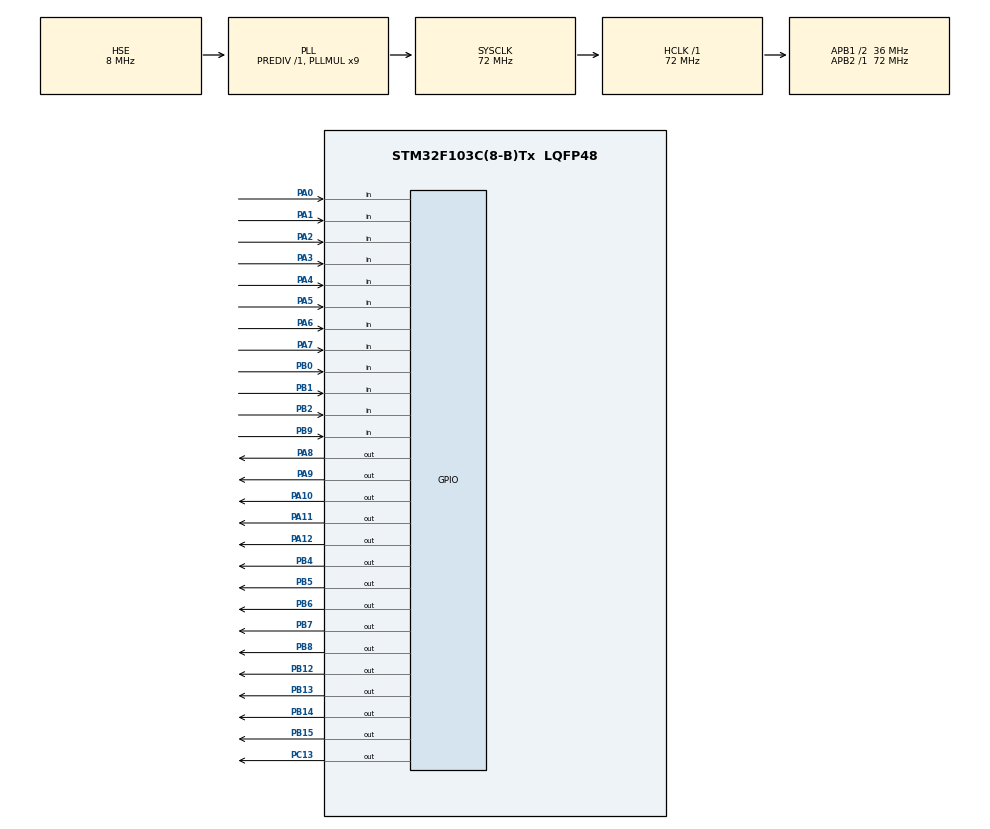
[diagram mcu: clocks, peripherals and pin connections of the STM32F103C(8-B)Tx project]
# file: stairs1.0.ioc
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Mcu.Family=STM32F1
Mcu.Name=STM32F103C(8-B)Tx
Mcu.Package=LQFP48
NVIC.PriorityGroup=NVIC_PRIORITYGROUP_4
NVIC.TIM2_IRQn=true\:0\:0\:false\:false\:true
PA0-WKUP.GPIO_PuPd=GPIO_PULLDOWN
PA0-WKUP.Signal=GPIO_Input
PA1.GPIO_PuPd=GPIO_PULLDOWN
PA1.Signal=GPIO_Input
PA10.Signal=GPIO_Output
PA11.Signal=GPIO_Output
PA12.Signal=GPIO_Output
PA13.Mode=JTAG_4_pins
PA13.Signal=SYS_JTMS-SWDIO
PA14.Mode=JTAG_4_pins
PA14.Signal=SYS_JTCK-SWCLK
PA15.Mode=JTAG_4_pins
PA15.Signal=SYS_JTDI
PA2.GPIO_PuPd=GPIO_PULLDOWN
PA2.Signal=GPIO_Input
PA3.GPIO_PuPd=GPIO_PULLDOWN
PA3.Signal=GPIO_Input
PA4.GPIO_PuPd=GPIO_PULLDOWN
PA4.Signal=GPIO_Input
PA5.GPIO_PuPd=GPIO_PULLDOWN
PA5.Signal=GPIO_Input
PA6.GPIO_PuPd=GPIO_PULLDOWN
PA6.Signal=GPIO_Input
PA7.GPIO_PuPd=GPIO_PULLDOWN
PA7.Signal=GPIO_Input
PA8.Signal=GPIO_Output
PA9.Signal=GPIO_Output
PB0.GPIO_PuPd=GPIO_PULLDOWN
PB0.Signal=GPIO_Input
PB1.GPIO_PuPd=GPIO_PULLDOWN
PB1.Signal=GPIO_Input
PB12.Signal=GPIO_Output
PB13.Signal=GPIO_Output
PB14.Signal=GPIO_Output
PB15.Signal=GPIO_Output
PB2.GPIO_PuPd=GPIO_PULLDOWN
PB2.Signal=GPIO_Input
PB3.Mode=JTAG_4_pins
PB3.Signal=SYS_JTDO-TRACESWO
PB4.Signal=GPIO_Output
PB5.Signal=GPIO_Output
PB6.Signal=GPIO_Output
PB7.Signal=GPIO_Output
PB8.Signal=GPIO_Output
PB9.GPIO_PuPd=GPIO_PULLDOWN
PB9.Signal=GPIO_Input
PC13-TAMPER-RTC.Signal=GPIO_Output
PD0-OSC_IN.Mode=HSE-External-Oscillator
PD0-OSC_IN.Signal=RCC_OSC_IN
PD1-OSC_OUT.Mode=HSE-External-Oscillator
PD1-OSC_OUT.Signal=RCC_OSC_OUT
ProjectManager.HeapSize=0x200
ProjectManager.StackSize=0x400
ProjectManager.TargetToolchain=MDK-ARM V5
RCC.AHBFreq_Value=72000000
RCC.APB1CLKDivider=RCC_HCLK_DIV2
RCC.APB1Freq_Value=36000000
RCC.APB1TimFreq_Value=72000000
RCC.APB2Freq_Value=72000000
RCC.APB2TimFreq_Value=72000000
RCC.HCLKFreq_Value=72000000
RCC.HSIState=RCC_HSI_ON
RCC.PLLMUL=RCC_PLL_MUL9
RCC.PLLSourceVirtual=RCC_PLLSOURCE_HSE
RCC.SYSCLKFreq_VALUE=72000000
RCC.SYSCLKSource=RCC_SYSCLKSOURCE_PLLCLK
RCC.USBFreq_Value=72000000
TIM2.Period=200-1
TIM2.Prescaler=720-1
VP_TIM2_VS_ClockSourceINT.Mode=Internal
board=stairs1.0

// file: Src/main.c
/**
  ******************************************************************************
  * File Name          : main.c
  * Description        : Main program body
  ******************************************************************************
  *
  * COPYRIGHT(c) 2016 STMicroelectronics
  *
  * Redistribution and use in source and binary forms, with or without modification,
  * are permitted provided that the following conditions are met:
  *   1. Redistributions of source code must retain the above copyright notice,
  *      this list of conditions and the following disclaimer.
  *   2. Redistributions in binary form must reproduce the above copyright notice,
  *      this list of conditions and the following disclaimer in the documentation
  *      and/or other materials provided with the distribution.
  *   3. Neither the name of STMicroelectronics nor the names of its contributors
  *      may be used to endorse or promote products derived from this software
  *      without specific prior written permission.
  *
  * THIS SOFTWARE IS PROVIDED BY THE COPYRIGHT HOLDERS AND CONTRIBUTORS "AS IS"
  * AND ANY EXPRESS OR IMPLIED WARRANTIES, INCLUDING, BUT NOT LIMITED TO, THE
  * IMPLIED WARRANTIES OF MERCHANTABILITY AND FITNESS FOR A PARTICULAR PURPOSE ARE
  * DISCLAIMED. IN NO EVENT SHALL THE COPYRIGHT HOLDER OR CONTRIBUTORS BE LIABLE
  * FOR ANY DIRECT, INDIRECT, INCIDENTAL, SPECIAL, EXEMPLARY, OR CONSEQUENTIAL
  * DAMAGES (INCLUDING, BUT NOT LIMITED TO, PROCUREMENT OF SUBSTITUTE GOODS OR
  * SERVICES; LOSS OF USE, DATA, OR PROFITS; OR BUSINESS INTERRUPTION) HOWEVER
  * CAUSED AND ON ANY THEORY OF LIABILITY, WHETHER IN CONTRACT, STRICT LIABILITY,
  * OR TORT (INCLUDING NEGLIGENCE OR OTHERWISE) ARISING IN ANY WAY OUT OF THE USE
  * OF THIS SOFTWARE, EVEN IF ADVISED OF THE POSSIBILITY OF SUCH DAMAGE.
  *
  ******************************************************************************
  */
#include "stm32f1xx_hal.h"

/* USER CODE BEGIN Includes */
#include "key.h"
#include "tf_mp3.h"
/* USER CODE END Includes */

TIM_HandleTypeDef htim2;

/* USER CODE BEGIN PV */
/* Private variables ---------------------------------------------------------*/
int key_last,key_get,key_now,key_push;
extern SONG_STRUCT song1;
extern int touch_times;
/* USER CODE END PV */

void SystemClock_Config(void);
void Error_Handler(void);
static void MX_GPIO_Init(void);
static void MX_TIM2_Init(void);

/* USER CODE BEGIN PFP */
/* Private function prototypes -----------------------------------------------*/
void init_all(void);
/* USER CODE END PFP */

int main(void)
{

  /* MCU Configuration----------------------------------------------------------*/

  /* Reset of all peripherals, Initializes the Flash interface and the Systick. */
  HAL_Init();

  /* Configure the system clock */
  SystemClock_Config();

  /* Initialize all configured peripherals */
  MX_GPIO_Init();
  MX_TIM2_Init();

  /* USER CODE BEGIN 2 */
	init_all();
  /* USER CODE END 2 */

  /* Infinite loop */
  while (1)
  {

  }

}

/** System Clock Configuration
*/
void SystemClock_Config(void)
{

  RCC_OscInitTypeDef RCC_OscInitStruct;
  RCC_ClkInitTypeDef RCC_ClkInitStruct;

  RCC_OscInitStruct.OscillatorType = RCC_OSCILLATORTYPE_HSE;
  RCC_OscInitStruct.HSEState = RCC_HSE_ON;
  RCC_OscInitStruct.HSEPredivValue = RCC_HSE_PREDIV_DIV1;
  RCC_OscInitStruct.PLL.PLLState = RCC_PLL_ON;
  RCC_OscInitStruct.PLL.PLLSource = RCC_PLLSOURCE_HSE;
  RCC_OscInitStruct.PLL.PLLMUL = RCC_PLL_MUL9;
  if (HAL_RCC_OscConfig(&RCC_OscInitStruct) != HAL_OK)
  {
    Error_Handler();
  }

  RCC_ClkInitStruct.ClockType = RCC_CLOCKTYPE_HCLK|RCC_CLOCKTYPE_SYSCLK
                              |RCC_CLOCKTYPE_PCLK1|RCC_CLOCKTYPE_PCLK2;
  RCC_ClkInitStruct.SYSCLKSource = RCC_SYSCLKSOURCE_PLLCLK;
  RCC_ClkInitStruct.AHBCLKDivider = RCC_SYSCLK_DIV1;
  RCC_ClkInitStruct.APB1CLKDivider = RCC_HCLK_DIV2;
  RCC_ClkInitStruct.APB2CLKDivider = RCC_HCLK_DIV1;
  if (HAL_RCC_ClockConfig(&RCC_ClkInitStruct, FLASH_LATENCY_2) != HAL_OK)
  {
    Error_Handler();
  }

  HAL_SYSTICK_Config(HAL_RCC_GetHCLKFreq()/1000);

  HAL_SYSTICK_CLKSourceConfig(SYSTICK_CLKSOURCE_HCLK);

  /* SysTick_IRQn interrupt configuration */
  HAL_NVIC_SetPriority(SysTick_IRQn, 0, 0);
}

/* TIM2 init function */
static void MX_TIM2_Init(void)
{

  TIM_ClockConfigTypeDef sClockSourceConfig;
  TIM_MasterConfigTypeDef sMasterConfig;

  htim2.Instance = TIM2;
  htim2.Init.Prescaler = 720-1;
  htim2.Init.CounterMode = TIM_COUNTERMODE_UP;
  htim2.Init.Period = 100-1;
  htim2.Init.ClockDivision = TIM_CLOCKDIVISION_DIV1;
  if (HAL_TIM_Base_Init(&htim2) != HAL_OK)
  {
    Error_Handler();
  }

  sClockSourceConfig.ClockSource = TIM_CLOCKSOURCE_INTERNAL;
  if (HAL_TIM_ConfigClockSource(&htim2, &sClockSourceConfig) != HAL_OK)
  {
    Error_Handler();
  }

  sMasterConfig.MasterOutputTrigger = TIM_TRGO_RESET;
  sMasterConfig.MasterSlaveMode = TIM_MASTERSLAVEMODE_DISABLE;
  if (HAL_TIMEx_MasterConfigSynchronization(&htim2, &sMasterConfig) != HAL_OK)
  {
    Error_Handler();
  }

}

/** Configure pins as
        * Analog
        * Input
        * Output
        * EVENT_OUT
        * EXTI
*/
static void MX_GPIO_Init(void)
{

  GPIO_InitTypeDef GPIO_InitStruct;

  /* GPIO Ports Clock Enable */
  __HAL_RCC_GPIOC_CLK_ENABLE();
  __HAL_RCC_GPIOD_CLK_ENABLE();
  __HAL_RCC_GPIOA_CLK_ENABLE();
  __HAL_RCC_GPIOB_CLK_ENABLE();

  /*Configure GPIO pin Output Level */
  HAL_GPIO_WritePin(GPIOC, GPIO_PIN_13, GPIO_PIN_RESET);

  /*Configure GPIO pin Output Level */
  HAL_GPIO_WritePin(GPIOB, GPIO_PIN_12|GPIO_PIN_13|GPIO_PIN_14|GPIO_PIN_15
                          |GPIO_PIN_4|GPIO_PIN_5|GPIO_PIN_6|GPIO_PIN_7
                          |GPIO_PIN_8, GPIO_PIN_RESET);

  /*Configure GPIO pin Output Level */
  HAL_GPIO_WritePin(GPIOA, GPIO_PIN_8|GPIO_PIN_9|GPIO_PIN_10|GPIO_PIN_11
                          |GPIO_PIN_12, GPIO_PIN_RESET);

  /*Configure GPIO pin : PC13 */
  GPIO_InitStruct.Pin = GPIO_PIN_13;
  GPIO_InitStruct.Mode = GPIO_MODE_OUTPUT_PP;
  GPIO_InitStruct.Speed = GPIO_SPEED_FREQ_LOW;
  HAL_GPIO_Init(GPIOC, &GPIO_InitStruct);

  /*Configure GPIO pins : PA0 PA1 PA2 PA3
                           PA4 PA5 PA6 PA7 */
  GPIO_InitStruct.Pin = GPIO_PIN_0|GPIO_PIN_1|GPIO_PIN_2|GPIO_PIN_3
                          |GPIO_PIN_4|GPIO_PIN_5|GPIO_PIN_6|GPIO_PIN_7;
  GPIO_InitStruct.Mode = GPIO_MODE_INPUT;
  GPIO_InitStruct.Pull = GPIO_PULLDOWN;
  HAL_GPIO_Init(GPIOA, &GPIO_InitStruct);

  /*Configure GPIO pins : PB0 PB1 PB2 PB9 */
  GPIO_InitStruct.Pin = GPIO_PIN_0|GPIO_PIN_1|GPIO_PIN_2|GPIO_PIN_9;
  GPIO_InitStruct.Mode = GPIO_MODE_INPUT;
  GPIO_InitStruct.Pull = GPIO_PULLDOWN;
  HAL_GPIO_Init(GPIOB, &GPIO_InitStruct);

  /*Configure GPIO pins : PB12 PB13 PB14 PB15
                           PB4 PB5 PB6 PB7
                           PB8 */
  GPIO_InitStruct.Pin = GPIO_PIN_12|GPIO_PIN_13|GPIO_PIN_14|GPIO_PIN_15
                          |GPIO_PIN_4|GPIO_PIN_5|GPIO_PIN_6|GPIO_PIN_7
                          |GPIO_PIN_8;
  GPIO_InitStruct.Mode = GPIO_MODE_OUTPUT_PP;
  GPIO_InitStruct.Speed = GPIO_SPEED_FREQ_LOW;
  HAL_GPIO_Init(GPIOB, &GPIO_InitStruct);

  /*Configure GPIO pins : PA8 PA9 PA10 PA11
                           PA12 */
  GPIO_InitStruct.Pin = GPIO_PIN_8|GPIO_PIN_9|GPIO_PIN_10|GPIO_PIN_11
                          |GPIO_PIN_12;
  GPIO_InitStruct.Mode = GPIO_MODE_OUTPUT_PP;
  GPIO_InitStruct.Speed = GPIO_SPEED_FREQ_LOW;
  HAL_GPIO_Init(GPIOA, &GPIO_InitStruct);

}

/* USER CODE BEGIN 4 */
void HAL_TIM_PeriodElapsedCallback(TIM_HandleTypeDef *htim)
{
  /* Prevent unused argument(s) compilation warning */
  UNUSED(htim);
  /* NOTE : This function Should not be modified, when the callback is needed,
            the __HAL_TIM_PeriodElapsedCallback could be implemented in the user file
   */
	if (htim->Instance == htim2.Instance)
	{
		/*测试1ms定时*/
		HAL_GPIO_TogglePin(GPIOC,GPIO_PIN_13);
		/*按键获取*/
		key_get = GetKey();
		/*按键消抖*/
		for(int i=10;i>0;i--)
			for(int j=10;j>0;j--);

		if(GetKey() == key_get)
			key_now = key_get;
		else
			key_now = key_last;
		/*键值变化则触发效果*/
		if(key_now != key_last)
		{
			/*led控制*/
			Key2Light();
			/*音乐模式切换*/
			if(HAL_GPIO_ReadPin(GPIOB,GPIO_PIN_9))
			{
				/*歌曲模式*/
				PlaySound(KeyPush());
				touch_times = 0;
			}
			else
				/*音阶模式*/
				PlayMusic(song1);
		}
		/*更新键值*/
		key_last = key_now;
	}
}

void init_all()
{
	/*初始化音频解码模块*/
	HAL_GPIO_WritePin(GPIOB,GPIO_PIN_4,GPIO_PIN_SET);
	HAL_GPIO_WritePin(GPIOB,GPIO_PIN_5,GPIO_PIN_SET);
	HAL_GPIO_WritePin(GPIOB,GPIO_PIN_6,GPIO_PIN_SET);
	HAL_GPIO_WritePin(GPIOB,GPIO_PIN_7,GPIO_PIN_SET);
	HAL_GPIO_WritePin(GPIOB,GPIO_PIN_8,GPIO_PIN_SET);
	/*初始化楼梯上led灯*/
	HAL_GPIO_WritePin(GPIOA,GPIO_PIN_12,GPIO_PIN_SET);
	HAL_GPIO_WritePin(GPIOA,GPIO_PIN_11,GPIO_PIN_SET);
	HAL_GPIO_WritePin(GPIOA,GPIO_PIN_10,GPIO_PIN_SET);
	HAL_GPIO_WritePin(GPIOA,GPIO_PIN_9,GPIO_PIN_SET);
	HAL_GPIO_WritePin(GPIOA,GPIO_PIN_8,GPIO_PIN_SET);
	HAL_GPIO_WritePin(GPIOB,GPIO_PIN_15,GPIO_PIN_SET);
	HAL_GPIO_WritePin(GPIOB,GPIO_PIN_14,GPIO_PIN_SET);
	HAL_GPIO_WritePin(GPIOB,GPIO_PIN_13,GPIO_PIN_SET);
	HAL_GPIO_WritePin(GPIOB,GPIO_PIN_12,GPIO_PIN_SET);
	/*初始化按键状态*/
	key_last = key_now = key_get = touch_times = 0;
	/*开启1ms定时器*/
	HAL_TIM_Base_Start_IT(&htim2);
	/*配置歌曲初始化*/
	SongInit();
}
/* USER CODE END 4 */

void Error_Handler(void)
{
  while(1)
  {
  }
}

/************************ (C) COPYRIGHT STMicroelectronics *****END OF FILE****/
